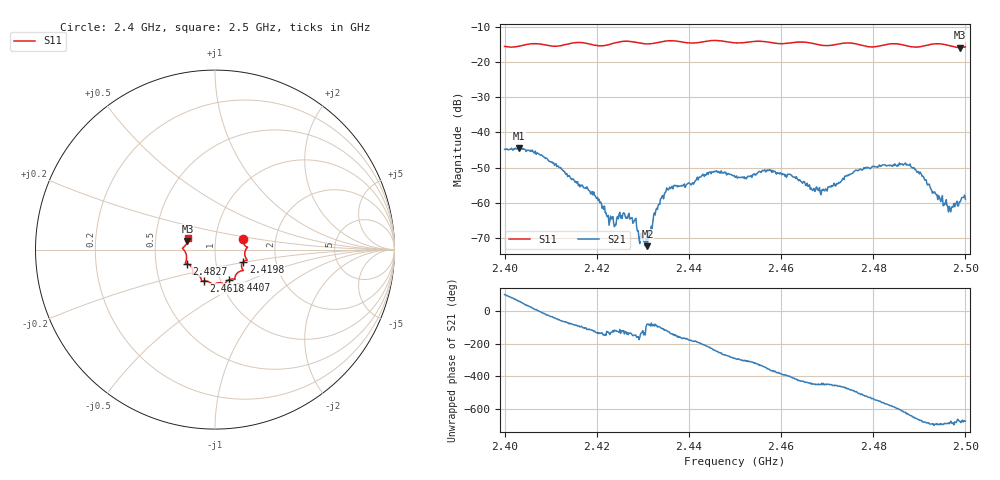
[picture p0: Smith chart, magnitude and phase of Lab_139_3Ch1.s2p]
# Hz S RI R 50
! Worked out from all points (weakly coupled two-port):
!   601 points, 2.4 GHz to 2.5 GHz, reference 50 ohm
!   highest |S21| = -44.44 dB at 2.4032 GHz (marker M1); lowest = -72.3 dB at 2.431 GHz (marker M2)
!   lowest |S11| = -15.9 dB at 2.4988 GHz (marker M3), VSWR 1.38, Z = 36.6 + j3.41 ohm
!   |S11| at or under -10 dB: start of sweep to end of sweep
!   S12 and S22 are empty: the file has one direction only
!   S11 on the Smith chart (normalised r, x): 2.4 GHz: 1.35, +0.17; 2.4198 GHz: 1.36, -0.19; 2.4407 GHz: 1.10, -0.38; 2.4618 GHz: 0.83, -0.30; 2.4827 GHz: 0.72, -0.12; 2.5 GHz: 0.73, +0.10
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2.4e9  0.1543 0.0615  -0.000796 0.0057  0 0  0 0
2.403167e9  0.1659 0.0237  0.00336 0.00497  0 0  0 0
2.407667e9  0.1794 0.0108  0.00477 -0.000451  0 0  0 0
2.416667e9  0.1789 -0.0588  -0.00014 -0.00174  0 0  0 0
2.419833e9  0.1574 -0.0677  -0.000798 -0.000877  0 0  0 0
2.422667e9  0.1479 -0.0962  -0.000343 -0.000337  0 0  0 0
2.427167e9  0.1566 -0.1171  -0.000435 -0.000394  0 0  0 0
2.429667e9  0.1374 -0.1215  -0.00026 -0.00026  0 0  0 0
2.431e9  0.1242 -0.1306  3.85e-05 -0.000239  0 0  0 0
2.433333e9  0.1117 -0.1529  -0.000132 -0.000917  0 0  0 0
2.435667e9  0.1116 -0.1657  -0.000971 -0.00124  0 0  0 0
2.440667e9  0.0793 -0.1676  -0.00188 0.000119  0 0  0 0
2.4455e9  0.0529 -0.1946  -0.0014 0.00243  0 0  0 0
2.45e9  0.0269 -0.1848  0.000776 0.00216  0 0  0 0
2.461833e9  -0.0615 -0.175  0.00197 -0.00163  0 0  0 0
2.466667e9  -0.0758 -0.1681  7.59e-05 -0.00156  0 0  0 0
2.482667e9  -0.1581 -0.0779  -0.00305 0.0015  0 0  0 0
2.483333e9  -0.1621 -0.0769  -0.00287 0.00185  0 0  0 0
2.488333e9  -0.1581 -0.0444  0.000547 0.00317  0 0  0 0
2.4965e9  -0.1692 0.0182  0.000754 0.000475  0 0  0 0
2.498833e9  -0.1534 0.0455  0.000714 0.000738  0 0  0 0
2.5e9  -0.1509 0.0631  0.000752 0.000836  0 0  0 0
